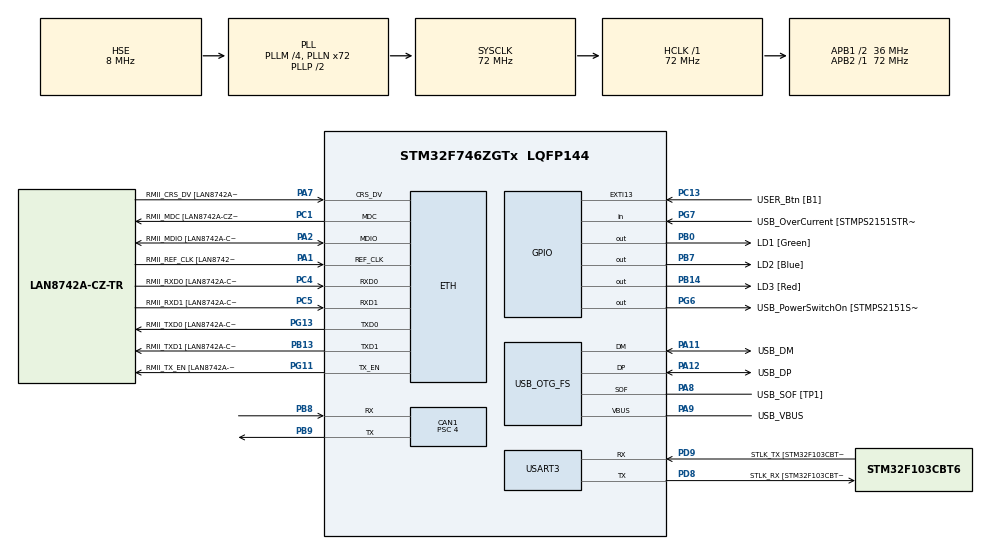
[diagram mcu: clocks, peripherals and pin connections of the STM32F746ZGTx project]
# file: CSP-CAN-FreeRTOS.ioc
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CAN1.BS1=CAN_BS1_4TQ
CAN1.BS2=CAN_BS2_4TQ
CAN1.CalculateBaudRate=1000000
CAN1.CalculateTimeBit=1000
CAN1.CalculateTimeQuantum=111.11111111111111
CAN1.Prescaler=4
ETH.MediaInterface=HAL_ETH_RMII_MODE
ETH.PHY_Name=LAN8742A_PHY_ADDRESS
ETH.PHY_Value=0
ETH.PhyAddress=0
FREERTOS.Tasks01=defaultTask,24,128,StartDefaultTask,Default,NULL,Dynamic,NULL,NULL;cspSend,8,128,CSPSend,Default,NULL,Dynamic,NULL,NULL;cspReceive,32,128,CSPReceive,Default,NULL,Dynamic,NULL,NULL
FREERTOS.configUSE_NEWLIB_REENTRANT=1
Mcu.Family=STM32F7
Mcu.Name=STM32F746ZGTx
Mcu.Package=LQFP144
NVIC.CAN1_RX0_IRQn=true\:5\:0\:false\:false\:true\:true\:true\:true\:true
NVIC.PriorityGroup=NVIC_PRIORITYGROUP_4
NVIC.TIM6_DAC_IRQn=true\:15\:0\:false\:false\:true\:false\:false\:true\:true
NVIC.TimeBase=TIM6_DAC_IRQn
NVIC.TimeBaseIP=TIM6
PA1.GPIO_Label=RMII_REF_CLK [LAN8742A-CZ-TR_REFCLK0]
PA1.Mode=RMII
PA1.Signal=ETH_REF_CLK
PA10.GPIO_Label=USB_ID
PA10.Signal=USB_OTG_FS_ID
PA11.GPIO_Label=USB_DM
PA11.Mode=Device_Only
PA11.Signal=USB_OTG_FS_DM
PA12.GPIO_Label=USB_DP
PA12.Mode=Device_Only
PA12.Signal=USB_OTG_FS_DP
PA13.GPIO_Label=TMS
PA13.Mode=Serial_Wire
PA13.Signal=SYS_JTMS-SWDIO
PA14.GPIO_Label=TCK
PA14.Mode=Serial_Wire
PA14.Signal=SYS_JTCK-SWCLK
PA2.GPIO_Label=RMII_MDIO [LAN8742A-CZ-TR_MDIO]
PA2.Mode=RMII
PA2.Signal=ETH_MDIO
PA7.GPIO_Label=RMII_CRS_DV [LAN8742A-CZ-TR_CRS_DV]
PA7.Mode=RMII
PA7.Signal=ETH_CRS_DV
PA8.GPIO_Label=USB_SOF [TP1]
PA8.Mode=Activate_SOF_FS
PA8.Signal=USB_OTG_FS_SOF
PA9.GPIO_Label=USB_VBUS
PA9.Mode=Activate_VBUS
PA9.Signal=USB_OTG_FS_VBUS
PB0.GPIO_Label=LD1 [Green]
PB0.Signal=GPIO_Output
PB13.GPIO_Label=RMII_TXD1 [LAN8742A-CZ-TR_TXD1]
PB13.Mode=RMII
PB13.Signal=ETH_TXD1
PB14.GPIO_Label=LD3 [Red]
PB14.Signal=GPIO_Output
PB3.GPIO_Label=SW0
PB3.Signal=SYS_JTDO-SWO
PB7.GPIO_Label=LD2 [Blue]
PB7.Signal=GPIO_Output
PB8.GPIO_PuPd=GPIO_PULLUP
PB8.Mode=CAN_Activate
PB8.Signal=CAN1_RX
PB9.Mode=CAN_Activate
PB9.Signal=CAN1_TX
PC1.GPIO_Label=RMII_MDC [LAN8742A-CZ-TR_MDC]
PC1.Mode=RMII
PC1.Signal=ETH_MDC
PC13.GPIO_Label=USER_Btn [B1]
PC13.Signal=GPXTI13
PC14/OSC32_IN.Mode=LSE-External-Oscillator
PC14/OSC32_IN.Signal=RCC_OSC32_IN
PC15/OSC32_OUT.Mode=LSE-External-Oscillator
PC15/OSC32_OUT.Signal=RCC_OSC32_OUT
PC4.GPIO_Label=RMII_RXD0 [LAN8742A-CZ-TR_RXD0]
PC4.Mode=RMII
PC4.Signal=ETH_RXD0
PC5.GPIO_Label=RMII_RXD1 [LAN8742A-CZ-TR_RXD1]
PC5.Mode=RMII
PC5.Signal=ETH_RXD1
PD8.GPIO_Label=STLK_RX [STM32F103CBT6_PA3]
PD8.GPIO_PuPd=GPIO_PULLUP
PD8.Mode=Asynchronous
PD8.Signal=USART3_TX
PD9.GPIO_Label=STLK_TX [STM32F103CBT6_PA2]
PD9.GPIO_PuPd=GPIO_PULLUP
PD9.Mode=Asynchronous
PD9.Signal=USART3_RX
PG11.GPIO_Label=RMII_TX_EN [LAN8742A-CZ-TR_TXEN]
PG11.Mode=RMII
PG11.Signal=ETH_TX_EN
PG13.GPIO_Label=RMII_TXD0 [LAN8742A-CZ-TR_TXD0]
PG13.Mode=RMII
PG13.Signal=ETH_TXD0
PG6.GPIO_Label=USB_PowerSwitchOn [STMPS2151STR_EN]
PG6.Signal=GPIO_Output
PG7.GPIO_Label=USB_OverCurrent [STMPS2151STR_FAULT]
PG7.Signal=GPIO_Input
PH0/OSC_IN.GPIO_Label=MCO [STM32F103CBT6_PA8]
PH0/OSC_IN.Mode=HSE-External-Clock-Source
PH0/OSC_IN.Signal=RCC_OSC_IN
PH1/OSC_OUT.Mode=HSE-External-Clock-Source
PH1/OSC_OUT.Signal=RCC_OSC_OUT
ProjectManager.HeapSize=0x200
ProjectManager.StackSize=0x400
ProjectManager.TargetToolchain=STM32CubeIDE
RCC.48MHZClocksFreq_Value=24000000
RCC.AHBFreq_Value=72000000
RCC.APB1CLKDivider=RCC_HCLK_DIV2
RCC.APB1Freq_Value=36000000
RCC.APB1TimFreq_Value=72000000
RCC.APB2Freq_Value=72000000
RCC.APB2TimFreq_Value=72000000
RCC.CortexFreq_Value=72000000
RCC.HCLKFreq_Value=72000000
RCC.HSE_VALUE=8000000
RCC.HSI_VALUE=16000000
RCC.PLLM=4
RCC.PLLMUL=RCC_PLL_MUL9
RCC.PLLN=72
RCC.PLLQ=3
RCC.PRESCALERUSB=RCC_USBCLKSOURCE_PLL_DIV1_5
RCC.SYSCLKFreq_VALUE=72000000
RCC.SYSCLKSource=RCC_SYSCLKSOURCE_PLLCLK
RCC.SYSCLKSourceVirtual=RCC_SYSCLKSOURCE_PLLCLK
RCC.USBFreq_Value=48000000
RCC.VCOOutputFreq_Value=144000000
USART3.VirtualMode-Asynchronous=VM_ASYNC
USB_OTG_FS.VirtualMode=Device_Only
VP_FREERTOS_VS_CMSIS_V2.Mode=CMSIS_V2
VP_SYS_VS_tim6.Mode=TIM6
board=NUCLEO-F746ZG

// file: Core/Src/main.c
/* USER CODE BEGIN Header */
/**
  ******************************************************************************
  * @file           : main.c
  * @brief          : Main program body
  ******************************************************************************
  * @attention
  *
  * Copyright (c) 2023 STMicroelectronics.
  * All rights reserved.
  *
  * This software is licensed under terms that can be found in the LICENSE file
  * in the root directory of this software component.
  * If no LICENSE file comes with this software, it is provided AS-IS.
  *
  ******************************************************************************
  */
/* USER CODE END Header */
#include "main.h"
#include "string.h"
#include "cmsis_os.h"

/* USER CODE BEGIN Includes */
#include <csp/csp.h>
#include <csp/csp_conn.h>
#include <csp/csp_promisc.h>
#include <stdio.h>

#include "../../CAN Driver/include/can_stm32.h"
/* USER CODE END Includes */

#if defined ( __ICCARM__ ) /*!< IAR Compiler */
#pragma location=0x2004c000
ETH_DMADescTypeDef  DMARxDscrTab[ETH_RX_DESC_CNT]; /* Ethernet Rx DMA Descriptors */
#pragma location=0x2004c0a0
ETH_DMADescTypeDef  DMATxDscrTab[ETH_TX_DESC_CNT]; /* Ethernet Tx DMA Descriptors */

#elif defined ( __CC_ARM )  /* MDK ARM Compiler */

__attribute__((at(0x2004c000))) ETH_DMADescTypeDef  DMARxDscrTab[ETH_RX_DESC_CNT]; /* Ethernet Rx DMA Descriptors */
__attribute__((at(0x2004c0a0))) ETH_DMADescTypeDef  DMATxDscrTab[ETH_TX_DESC_CNT]; /* Ethernet Tx DMA Descriptors */

#elif defined ( __GNUC__ ) /* GNU Compiler */
ETH_DMADescTypeDef DMARxDscrTab[ETH_RX_DESC_CNT] __attribute__((section(".RxDecripSection"))); /* Ethernet Rx DMA Descriptors */
ETH_DMADescTypeDef DMATxDscrTab[ETH_TX_DESC_CNT] __attribute__((section(".TxDecripSection")));   /* Ethernet Tx DMA Descriptors */

#endif

ETH_TxPacketConfig TxConfig;

CAN_HandleTypeDef hcan1;

ETH_HandleTypeDef heth;

UART_HandleTypeDef huart3;

PCD_HandleTypeDef hpcd_USB_OTG_FS;

/* Definitions for defaultTask */
osThreadId_t defaultTaskHandle;
const osThreadAttr_t defaultTask_attributes = {
  .name = "defaultTask",
  .stack_size = 128 * 4,
  .priority = (osPriority_t) osPriorityNormal,
};
/* Definitions for cspSend */
osThreadId_t cspSendHandle;
const osThreadAttr_t cspSend_attributes = {
  .name = "cspSend",
  .stack_size = 128 * 4,
  .priority = (osPriority_t) osPriorityLow,
};
/* Definitions for cspReceive */
osThreadId_t cspReceiveHandle;
const osThreadAttr_t cspReceive_attributes = {
  .name = "cspReceive",
  .stack_size = 128 * 4,
  .priority = (osPriority_t) osPriorityAboveNormal,
};
/* USER CODE BEGIN PV */
//uint8_t USB_InputBuffer[100];
//uint8_t USB_OutputBuffer[127];
//int USB_OutBufLen;
#define MY_SERVER_PORT		10
#define SERVER_ADDRESS      255

//static uint8_t server_port = 10;

//static bool test_mode = false;
//static unsigned int server_received = 0;

CAN_FilterTypeDef canfil;
//uint8_t canSend = 0;
/* USER CODE END PV */

void SystemClock_Config(void);
static void MX_GPIO_Init(void);
static void MX_ETH_Init(void);
static void MX_USART3_UART_Init(void);
static void MX_USB_OTG_FS_PCD_Init(void);
static void MX_CAN1_Init(void);
void StartDefaultTask(void *argument);
void CSPSend(void *argument);
void CSPReceive(void *argument);

/* USER CODE BEGIN 0 */
int _write(int file, char *ptr, int len) {
	for(int i=0; i<len; i++)
		ITM_SendChar((*ptr++));
	return len;
}
/* USER CODE END 0 */

int main(void)
{

  /* MCU Configuration--------------------------------------------------------*/

  /* Reset of all peripherals, Initializes the Flash interface and the Systick. */
  HAL_Init();

  /* Configure the system clock */
  SystemClock_Config();

  /* Initialize all configured peripherals */
  MX_GPIO_Init();
  MX_ETH_Init();
  MX_USART3_UART_Init();
  MX_USB_OTG_FS_PCD_Init();
  MX_CAN1_Init();

  /* USER CODE BEGIN 2 */
  /* Setting the debug level. Only debugging statements up to 'debug_level' will be printed to the debug terminal. */
//  csp_debug_level_t debug_level = CSP_INFO;
  csp_debug_level_t debug_level = CSP_PACKET;
  for (csp_debug_level_t i = 0; i <= CSP_LOCK; ++i) {
	  csp_debug_set_level(i, (i <= debug_level) ? true: false);
  }

  /* Initialising CSP */
  csp_log_info("Initialising CSP");
  csp_conf_t csp_conf;
  csp_conf_get_defaults(&csp_conf);
  uint8_t csp_address = 255;
  csp_conf.address = csp_address;
  int error = csp_init(&csp_conf);
  if (error != CSP_ERR_NONE) {
	  csp_log_error("csp_init() failed, error: %d", error);
  }
  /* Add interface(s) */
  csp_iface_t CSP_IF_CAN = {
		  .name = "CSP IF CAN",
		  .driver_data = &hcan1,
//		  .nexthop = csp_can_tx_stm32,
		  .mtu = 64,
  };
  csp_iface_t *can_iface = &CSP_IF_CAN;
  error = csp_can_stm32_open_and_add_interface(CSP_IF_CAN.name, &can_iface, 0);
  if (error != CSP_ERR_NONE) {
	  csp_log_error("csp_can_stm32_open_and_add_interface() failed, error: %d", error);
  }
  /* Setting route table */
  if (can_iface) {
//	  csp_rtable_set(CSP_DEFAULT_ROUTE, 0, can_iface, CSP_NO_VIA_ADDRESS);
	  csp_route_set(CSP_DEFAULT_ROUTE, can_iface, CSP_NO_VIA_ADDRESS);
  } else {
	  csp_log_info("Couldn't set route table");
//	  server_address = csp_address;
  }
  /* Start router task with 1000 bytes of stack (priority is only supported on FreeRTOS) */
  if(csp_route_start_task(1000, 1) != CSP_ERR_NONE){
	  csp_log_warn("Failed to start router!");
  }

  /* USER CODE END 2 */

  /* Init scheduler */
  osKernelInitialize();

  /* Create the thread(s) */
  /* creation of defaultTask */
  defaultTaskHandle = osThreadNew(StartDefaultTask, NULL, &defaultTask_attributes);

  /* creation of cspSend */
  cspSendHandle = osThreadNew(CSPSend, NULL, &cspSend_attributes);

  /* creation of cspReceive */
  cspReceiveHandle = osThreadNew(CSPReceive, NULL, &cspReceive_attributes);

  /* Start scheduler */
  osKernelStart();
  /* We should never get here as control is now taken by the scheduler */
  /* Infinite loop */
  while (1)
  {

  }
}

void SystemClock_Config(void)
{
  RCC_OscInitTypeDef RCC_OscInitStruct = {0};
  RCC_ClkInitTypeDef RCC_ClkInitStruct = {0};

  /** Configure LSE Drive Capability
  */
  HAL_PWR_EnableBkUpAccess();

  /** Configure the main internal regulator output voltage
  */
  __HAL_RCC_PWR_CLK_ENABLE();
  __HAL_PWR_VOLTAGESCALING_CONFIG(PWR_REGULATOR_VOLTAGE_SCALE3);

  /** Initializes the RCC Oscillators according to the specified parameters
  * in the RCC_OscInitTypeDef structure.
  */
  RCC_OscInitStruct.OscillatorType = RCC_OSCILLATORTYPE_HSE;
  RCC_OscInitStruct.HSEState = RCC_HSE_BYPASS;
  RCC_OscInitStruct.PLL.PLLState = RCC_PLL_ON;
  RCC_OscInitStruct.PLL.PLLSource = RCC_PLLSOURCE_HSE;
  RCC_OscInitStruct.PLL.PLLM = 4;
  RCC_OscInitStruct.PLL.PLLN = 72;
  RCC_OscInitStruct.PLL.PLLP = RCC_PLLP_DIV2;
  RCC_OscInitStruct.PLL.PLLQ = 3;
  if (HAL_RCC_OscConfig(&RCC_OscInitStruct) != HAL_OK)
  {
    Error_Handler();
  }

  /** Initializes the CPU, AHB and APB buses clocks
  */
  RCC_ClkInitStruct.ClockType = RCC_CLOCKTYPE_HCLK|RCC_CLOCKTYPE_SYSCLK
                              |RCC_CLOCKTYPE_PCLK1|RCC_CLOCKTYPE_PCLK2;
  RCC_ClkInitStruct.SYSCLKSource = RCC_SYSCLKSOURCE_PLLCLK;
  RCC_ClkInitStruct.AHBCLKDivider = RCC_SYSCLK_DIV1;
  RCC_ClkInitStruct.APB1CLKDivider = RCC_HCLK_DIV2;
  RCC_ClkInitStruct.APB2CLKDivider = RCC_HCLK_DIV1;

  if (HAL_RCC_ClockConfig(&RCC_ClkInitStruct, FLASH_LATENCY_2) != HAL_OK)
  {
    Error_Handler();
  }
}

static void MX_CAN1_Init(void)
{

  hcan1.Instance = CAN1;
  hcan1.Init.Prescaler = 4;
  hcan1.Init.Mode = CAN_MODE_NORMAL;
  hcan1.Init.SyncJumpWidth = CAN_SJW_1TQ;
  hcan1.Init.TimeSeg1 = CAN_BS1_4TQ;
  hcan1.Init.TimeSeg2 = CAN_BS2_4TQ;
  hcan1.Init.TimeTriggeredMode = DISABLE;
  hcan1.Init.AutoBusOff = DISABLE;
  hcan1.Init.AutoWakeUp = DISABLE;
  hcan1.Init.AutoRetransmission = DISABLE;
  hcan1.Init.ReceiveFifoLocked = DISABLE;
  hcan1.Init.TransmitFifoPriority = DISABLE;
  if (HAL_CAN_Init(&hcan1) != HAL_OK)
  {
    Error_Handler();
  }
  /* USER CODE BEGIN CAN1_Init 2 */
  canfil.FilterBank = 0;
  canfil.FilterMode = CAN_FILTERMODE_IDMASK;
  canfil.FilterFIFOAssignment = CAN_RX_FIFO0;
  canfil.FilterIdHigh = 0;
  canfil.FilterIdLow = 0;
  canfil.FilterMaskIdHigh = 0;
  canfil.FilterMaskIdLow = 0;
  canfil.FilterScale = CAN_FILTERSCALE_32BIT;
  canfil.FilterActivation = ENABLE;
  canfil.SlaveStartFilterBank = 14;

  /* Initialise CAN Filter */
  if (HAL_CAN_ConfigFilter(&hcan1, &canfil) != HAL_OK) {
	  Error_Handler();
  }

  /* Activate CAN Interrupts */
  HAL_CAN_ActivateNotification(&hcan1, CAN_IT_RX_FIFO0_MSG_PENDING);

  /* Start the CAN Peripheral */
  if (HAL_CAN_Start(&hcan1) != HAL_OK) {
  Error_Handler();
  }
  /* USER CODE END CAN1_Init 2 */

}

static void MX_ETH_Init(void)
{

   static uint8_t MACAddr[6];

  heth.Instance = ETH;
  MACAddr[0] = 0x00;
  MACAddr[1] = 0x80;
  MACAddr[2] = 0xE1;
  MACAddr[3] = 0x00;
  MACAddr[4] = 0x00;
  MACAddr[5] = 0x00;
  heth.Init.MACAddr = &MACAddr[0];
  heth.Init.MediaInterface = HAL_ETH_RMII_MODE;
  heth.Init.TxDesc = DMATxDscrTab;
  heth.Init.RxDesc = DMARxDscrTab;
  heth.Init.RxBuffLen = 1524;

  if (HAL_ETH_Init(&heth) != HAL_OK)
  {
    Error_Handler();
  }

  memset(&TxConfig, 0 , sizeof(ETH_TxPacketConfig));
  TxConfig.Attributes = ETH_TX_PACKETS_FEATURES_CSUM | ETH_TX_PACKETS_FEATURES_CRCPAD;
  TxConfig.ChecksumCtrl = ETH_CHECKSUM_IPHDR_PAYLOAD_INSERT_PHDR_CALC;
  TxConfig.CRCPadCtrl = ETH_CRC_PAD_INSERT;

}

static void MX_USART3_UART_Init(void)
{

  huart3.Instance = USART3;
  huart3.Init.BaudRate = 115200;
  huart3.Init.WordLength = UART_WORDLENGTH_8B;
  huart3.Init.StopBits = UART_STOPBITS_1;
  huart3.Init.Parity = UART_PARITY_NONE;
  huart3.Init.Mode = UART_MODE_TX_RX;
  huart3.Init.HwFlowCtl = UART_HWCONTROL_NONE;
  huart3.Init.OverSampling = UART_OVERSAMPLING_16;
  huart3.Init.OneBitSampling = UART_ONE_BIT_SAMPLE_DISABLE;
  huart3.AdvancedInit.AdvFeatureInit = UART_ADVFEATURE_NO_INIT;
  if (HAL_UART_Init(&huart3) != HAL_OK)
  {
    Error_Handler();
  }

}

static void MX_USB_OTG_FS_PCD_Init(void)
{

  hpcd_USB_OTG_FS.Instance = USB_OTG_FS;
  hpcd_USB_OTG_FS.Init.dev_endpoints = 6;
  hpcd_USB_OTG_FS.Init.speed = PCD_SPEED_FULL;
  hpcd_USB_OTG_FS.Init.dma_enable = DISABLE;
  hpcd_USB_OTG_FS.Init.phy_itface = PCD_PHY_EMBEDDED;
  hpcd_USB_OTG_FS.Init.Sof_enable = ENABLE;
  hpcd_USB_OTG_FS.Init.low_power_enable = DISABLE;
  hpcd_USB_OTG_FS.Init.lpm_enable = DISABLE;
  hpcd_USB_OTG_FS.Init.vbus_sensing_enable = ENABLE;
  hpcd_USB_OTG_FS.Init.use_dedicated_ep1 = DISABLE;
  if (HAL_PCD_Init(&hpcd_USB_OTG_FS) != HAL_OK)
  {
    Error_Handler();
  }

}

static void MX_GPIO_Init(void)
{
  GPIO_InitTypeDef GPIO_InitStruct = {0};

  /* GPIO Ports Clock Enable */
  __HAL_RCC_GPIOC_CLK_ENABLE();
  __HAL_RCC_GPIOH_CLK_ENABLE();
  __HAL_RCC_GPIOA_CLK_ENABLE();
  __HAL_RCC_GPIOB_CLK_ENABLE();
  __HAL_RCC_GPIOD_CLK_ENABLE();
  __HAL_RCC_GPIOG_CLK_ENABLE();

  /*Configure GPIO pin Output Level */
  HAL_GPIO_WritePin(GPIOB, LD1_Pin|LD3_Pin|LD2_Pin, GPIO_PIN_RESET);

  /*Configure GPIO pin Output Level */
  HAL_GPIO_WritePin(USB_PowerSwitchOn_GPIO_Port, USB_PowerSwitchOn_Pin, GPIO_PIN_RESET);

  /*Configure GPIO pin : USER_Btn_Pin */
  GPIO_InitStruct.Pin = USER_Btn_Pin;
  GPIO_InitStruct.Mode = GPIO_MODE_IT_RISING;
  GPIO_InitStruct.Pull = GPIO_NOPULL;
  HAL_GPIO_Init(USER_Btn_GPIO_Port, &GPIO_InitStruct);

  /*Configure GPIO pins : LD1_Pin LD3_Pin LD2_Pin */
  GPIO_InitStruct.Pin = LD1_Pin|LD3_Pin|LD2_Pin;
  GPIO_InitStruct.Mode = GPIO_MODE_OUTPUT_PP;
  GPIO_InitStruct.Pull = GPIO_NOPULL;
  GPIO_InitStruct.Speed = GPIO_SPEED_FREQ_LOW;
  HAL_GPIO_Init(GPIOB, &GPIO_InitStruct);

  /*Configure GPIO pin : USB_PowerSwitchOn_Pin */
  GPIO_InitStruct.Pin = USB_PowerSwitchOn_Pin;
  GPIO_InitStruct.Mode = GPIO_MODE_OUTPUT_PP;
  GPIO_InitStruct.Pull = GPIO_NOPULL;
  GPIO_InitStruct.Speed = GPIO_SPEED_FREQ_LOW;
  HAL_GPIO_Init(USB_PowerSwitchOn_GPIO_Port, &GPIO_InitStruct);

  /*Configure GPIO pin : USB_OverCurrent_Pin */
  GPIO_InitStruct.Pin = USB_OverCurrent_Pin;
  GPIO_InitStruct.Mode = GPIO_MODE_INPUT;
  GPIO_InitStruct.Pull = GPIO_NOPULL;
  HAL_GPIO_Init(USB_OverCurrent_GPIO_Port, &GPIO_InitStruct);

}

/* USER CODE BEGIN 4 */
void SendSimpleCSPPacket(unsigned int size)
{
	unsigned int i;
	uint32_t timeout;

	timeout = 1000;

	/* Open connection */
	csp_conn_t * conn = csp_connect(CSP_PRIO_NORM, SERVER_ADDRESS, 10, timeout, CSP_SO_NONE);
	if (conn == NULL)
		return;

	/* Prepare data */
	csp_packet_t * packet = csp_buffer_get(size);
	if (packet == NULL)
		goto out;

	/* Set data to increasing numbers */
	packet->length = size;
	for (i = 0; i < size; i++)
		packet->data[i] = i;

	/* Try to send frame */
	if (!csp_send(conn, packet, 0))
		goto out;

	out:
		/* Clean up */
		csp_buffer_free(packet);
		csp_close(conn);
}

//CAN_RxHeaderTypeDef rxHeader;
//uint8_t rxData[8] = {0,0,0,0,0,0,0,0};
//
//void HAL_CAN_RxFifo0MsgPendingCallback(CAN_HandleTypeDef *hcan) {
//	HAL_CAN_GetRxMessage(hcan, CAN_RX_FIFO0, &rxHeader, rxData);
//	csp_log_warn((char*) rxHeader.StdId);
//}

/* USER CODE END 4 */

void StartDefaultTask(void *argument)
{
  /* USER CODE BEGIN 5 */
  /* Infinite loop */
  for(;;)
  {
	  HAL_GPIO_TogglePin(LD1_GPIO_Port, LD1_Pin);
	  osDelay(200);
  }
  /* USER CODE END 5 */
}

void CSPSend(void *argument)
{
  /* USER CODE BEGIN CSPSend */
  /* Infinite loop */
//  int ping_response = -1;
  for(;;)
  {
	  HAL_GPIO_TogglePin(LD3_GPIO_Port, LD3_Pin);

//	  SendSimpleCSPPacket(2);
//	  ping_response = csp_ping(6, 3000, 2, 0);
//	  if(ping_response >= 0) {
//		  HAL_GPIO_TogglePin(LD2_GPIO_Port, LD2_Pin);
//	  }

	  osDelay(5000);
  }
  /* USER CODE END CSPSend */
}

void CSPReceive(void *argument)
{
  /* USER CODE BEGIN CSPReceive */

  /* Create socket without any socket options */
//  csp_socket_t *sock = csp_socket(CSP_SO_CONN_LESS);
//  csp_socket_t *sock = csp_socket(CSP_SO_NONE);

  /* Bind all ports to socket */
//  if(csp_bind(sock, CSP_ANY) != CSP_ERR_NONE){
//	  csp_log_warn("Couldn't bind port to socket");
//  }

//  /* Create 5 connections backlog queue */
//  if(csp_listen(sock, 5) != CSP_ERR_NONE){
//	  csp_log_warn("Couldn't start listening");
//  }

  /* Pointer to current connection and packet */
//  csp_conn_t *conn = csp_connect(CSP_PRIO_NORM, server_address, 10, 2000, CSP_SO_NONE);
//  if ((conn = csp_accept(&sock, 10000)) == NULL) {
//	  /* timeout */
//	  csp_log_warn("connection timeout");
//  }

  if(csp_promisc_enable(100) != CSP_ERR_NONE) {
	  csp_log_warn("Couldn't enable promiscuous mode.");
  }

  csp_packet_t *packet;
//  csp_conn_t *conn;

  /* Infinite loop */
  for(;;)
  {
	  /* Wait for connection, 10000ms timeout */
//	  if ((conn = csp_accept(sock, CSP_MAX_TIMEOUT)) != NULL){
//		  continue;
//	  } else {
//		  csp_log_warn("failed miserably");
//	  }

//	  if((conn = csp_accept(sock, CSP_MAX_TIMEOUT)) == NULL ) continue;
//
//	  /* Read packets. Timeout is 1000ms */
////	  while ((packet = csp_read(conn, 2000)) != NULL) {
//	  while ((packet = csp_recvfrom(sock, CSP_MAX_TIMEOUT)) != NULL) {
//		  csp_log_warn("received a packet!!!!");
//		  switch (csp_conn_dport(conn)) {
//			  case 9:
//				  /* Process packet here */
//				  goto delay;
//			  default:
//				  /* Let the service handler reply pings, buffer use, etc. */
//				  csp_service_handler(conn, packet);
//				  break;
//		  }
//	  }

//	  while(true) {
//		  conn = csp_accept(sock, 200);
//
//		  /* Listener loop (waits for packets) */
//		  while(true) {
//			  packet = csp_read(conn, 1000);
//			  if(packet == NULL) {
//				  csp_close(conn);
//				  break;
//			  }
//			  csp_log_warn("Packet received!\r\n");
//			  printf("Packet received\n");
//		  }
//		  if(conn != NULL) {
//			  csp_close(conn);
//		  }
//	  }

	  packet = csp_promisc_read(2000);

	  if(packet != NULL) {
//		  csp_log_warn("Packet Data: %d\nPacket Data 16: %d\n Packet Data 32: %d Packet Length: %d", (int)*packet->data, (int)*packet->data16, (int)*packet->data32, (int)packet->length);
//		  csp_log_packet("INP: S %u, D %u, Dp %u, Sp %u, Pr %u, Fl 0x%02X, Sz %"PRIu16" VIA: %s",
//		  			packet->id.src, packet->id.dst, packet->id.dport,
//		  			packet->id.sport, packet->id.pri, packet->id.flags, packet->length, input.iface->name);
		  HAL_GPIO_TogglePin(LD2_GPIO_Port, LD2_Pin);

		  int full_packet_buffer_size = packet->length*2+1;
		  char full_packet[full_packet_buffer_size];
		  full_packet[full_packet_buffer_size-1] = '\0';
		  for(int i=0; i<packet->length; i++) {
			  char str_buff[3];
			  snprintf(str_buff, 3, "%x", packet->data[i]);
			  strncpy(full_packet+(i*2), str_buff, 2);
		  }
//		  csp_log_info("Packet Data: 0x%x", packet->data[0]);
		  csp_log_info("Packet Data: 0x%s", full_packet);
		  csp_buffer_free(packet);
		  SendSimpleCSPPacket(4);
		  goto delay;
	  }

	  /* Close current connection, and handle next */
//	  csp_close(conn);

	  delay:
	  	  osDelay(10);
  }
  /* USER CODE END CSPReceive */
}

void HAL_TIM_PeriodElapsedCallback(TIM_HandleTypeDef *htim)
{
  if (htim->Instance == TIM6) {
    HAL_IncTick();
  }
}

void Error_Handler(void)
{
  __disable_irq();
  while (1)
  {
  }
}
